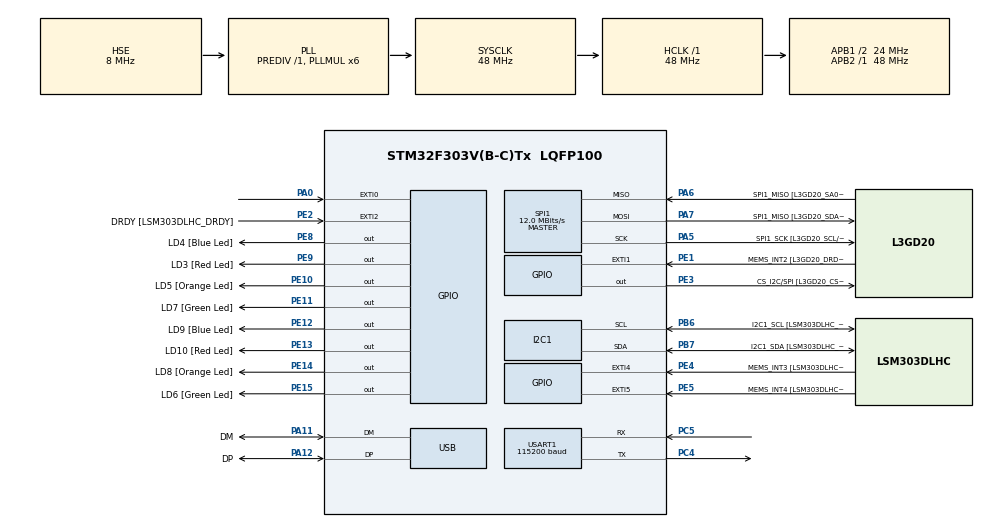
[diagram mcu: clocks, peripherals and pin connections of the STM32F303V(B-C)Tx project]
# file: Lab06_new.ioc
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I2C1.Timing=0x2000090E
I2C1.Timing-I2C=0x2000090E
Mcu.Family=STM32F3
Mcu.Name=STM32F303V(B-C)Tx
Mcu.Package=LQFP100
NVIC.EXTI0_IRQn=true\:0\:0\:false\:false\:true\:true\:true\:true
NVIC.PriorityGroup=NVIC_PRIORITYGROUP_0
NVIC.TIM2_IRQn=true\:0\:0\:false\:false\:true\:true\:true\:true
NVIC.USB_LP_CAN_RX0_IRQn=true\:0\:0\:false\:false\:true\:false\:true\:true
PA0.Signal=GPXTI0
PA11.GPIO_Label=DM
PA11.Mode=Device
PA11.Signal=USB_DM
PA12.GPIO_Label=DP
PA12.Mode=Device
PA12.Signal=USB_DP
PA13.GPIO_Label=SWDIO
PA13.Mode=Serial_Wire
PA13.Signal=SYS_JTMS-SWDIO
PA14.GPIO_Label=SWCLK
PA14.Mode=Serial_Wire
PA14.Signal=SYS_JTCK-SWCLK
PA5.GPIO_Label=SPI1_SCK [L3GD20_SCL/SPC]
PA5.Mode=Full_Duplex_Master
PA5.Signal=SPI1_SCK
PA6.GPIO_Label=SPI1_MISO [L3GD20_SA0/SDO]
PA6.Mode=Full_Duplex_Master
PA6.Signal=SPI1_MISO
PA7.GPIO_Label=SPI1_MISO [L3GD20_SDA/SDI/SDO]
PA7.Mode=Full_Duplex_Master
PA7.Signal=SPI1_MOSI
PB3.GPIO_Label=SWO
PB3.Signal=SYS_JTDO-TRACESWO
PB6.GPIO_Label=I2C1_SCL [LSM303DLHC_SCL]
PB6.GPIO_Pu=GPIO_PULLUP
PB6.Mode=I2C
PB6.Signal=I2C1_SCL
PB7.GPIO_Label=I2C1_SDA [LSM303DLHC_SDA]
PB7.GPIO_Pu=GPIO_PULLUP
PB7.Mode=I2C
PB7.Signal=I2C1_SDA
PC14-OSC32_IN.GPIO_Label=OSC32_IN
PC14-OSC32_IN.Signal=RCC_OSC32_IN
PC15-OSC32_OUT.GPIO_Label=OSC32_OUT
PC15-OSC32_OUT.Signal=RCC_OSC32_OUT
PC4.Mode=Asynchronous
PC4.Signal=USART1_TX
PC5.Mode=Asynchronous
PC5.Signal=USART1_RX
PE1.GPIO_Label=MEMS_INT2 [L3GD20_DRDY/INT2]
PE1.GPIO_ModeDefaultEXTI=GPIO_MODE_EVT_RISING
PE1.Signal=GPXTI1
PE10.GPIO_Label=LD5 [Orange Led]
PE10.Signal=GPIO_Output
PE11.GPIO_Label=LD7 [Green Led]
PE11.Signal=GPIO_Output
PE12.GPIO_Label=LD9 [Blue Led]
PE12.Signal=GPIO_Output
PE13.GPIO_Label=LD10 [Red Led]
PE13.Signal=GPIO_Output
PE14.GPIO_Label=LD8 [Orange Led]
PE14.Signal=GPIO_Output
PE15.GPIO_Label=LD6 [Green Led]
PE15.Signal=GPIO_Output
PE2.GPIO_Label=DRDY [LSM303DLHC_DRDY]
PE2.GPIO_ModeDefaultEXTI=GPIO_MODE_EVT_RISING
PE2.Signal=GPXTI2
PE3.GPIO_Label=CS_I2C/SPI [L3GD20_CS_I2C/SPI]
PE3.Signal=GPIO_Output
PE4.GPIO_Label=MEMS_INT3 [LSM303DLHC_INT1]
PE4.GPIO_ModeDefaultEXTI=GPIO_MODE_EVT_RISING
PE4.Signal=GPXTI4
PE5.GPIO_Label=MEMS_INT4 [LSM303DLHC_INT2]
PE5.GPIO_ModeDefaultEXTI=GPIO_MODE_EVT_RISING
PE5.Signal=GPXTI5
PE8.GPIO_Label=LD4 [Blue Led]
PE8.Signal=GPIO_Output
PE9.GPIO_Label=LD3 [Red Led]
PE9.Signal=GPIO_Output
PF0-OSC_IN.GPIO_Label=OSC_IN
PF0-OSC_IN.Mode=HSE-External-Clock-Source
PF0-OSC_IN.Signal=RCC_OSC_IN
PF1-OSC_OUT.GPIO_Label=OSC_OUT
PF1-OSC_OUT.Signal=RCC_OSC_OUT
ProjectManager.HeapSize=0x200
ProjectManager.StackSize=0x400
ProjectManager.TargetToolchain=CMake
RCC.AHBFreq_Value=48000000
RCC.APB1CLKDivider=RCC_HCLK_DIV2
RCC.APB1Freq_Value=24000000
RCC.APB1TimFreq_Value=48000000
RCC.APB2Freq_Value=48000000
RCC.APB2TimFreq_Value=48000000
RCC.CortexFreq_Value=48000000
RCC.HCLKFreq_Value=48000000
RCC.HSE_VALUE=8000000
RCC.HSI_VALUE=8000000
RCC.LSE_VALUE=32768
RCC.PLLMUL=RCC_PLL_MUL6
RCC.SYSCLKFreq_VALUE=48000000
RCC.SYSCLKSourceVirtual=RCC_SYSCLKSOURCE_PLLCLK
RCC.USBFreq_Value=48000000
SPI1.BaudRatePrescaler=SPI_BAUDRATEPRESCALER_4
SPI1.BaudRatePrescaler-Full_Duplex_Master=SPI_BAUDRATEPRESCALER_2
SPI1.CalculateBaudRate=12.0 MBits/s
SPI1.CalculateBaudRate-Full_Duplex_Master=24.0 MBits/s
SPI1.Direction=SPI_DIRECTION_2LINES
SPI1.Mode=SPI_MODE_MASTER
SPI1.Mode-Full_Duplex_Master=SPI_MODE_MASTER
SPI1.VirtualType=VM_MASTER
TIM2.Prescaler=9
USART1.BaudRate=115200
USART1.VirtualMode-Asynchronous=VM_ASYNC
USB_DEVICE.CLASS_NAME_FS=CDC
USB_DEVICE.VirtualMode=Cdc
USB_DEVICE.VirtualModeFS=Cdc_FS
VP_TIM2_VS_ClockSourceINT.Mode=Internal
VP_USB_DEVICE_VS_USB_DEVICE_CDC_FS.Mode=CDC_FS
board=STM32F3DISCOVERY

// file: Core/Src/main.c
/* USER CODE BEGIN Header */
/**
  ******************************************************************************
  * @file           : main.c
  * @brief          : Main program body
  ******************************************************************************
  * @attention
  *
  * Copyright (c) 2026 STMicroelectronics.
  * All rights reserved.
  *
  * This software is licensed under terms that can be found in the LICENSE file
  * in the root directory of this software component.
  * If no LICENSE file comes with this software, it is provided AS-IS.
  *
  ******************************************************************************
  */
/* USER CODE END Header */
#include "main.h"
#include "usb_device.h"
#include "stm32f3xx_hal_uart.h"
#include "stdarg.h"
#include "stdio.h"
#include "stm32f3xx_hal.h"
#include "string.h"
#include "math.h"

I2C_HandleTypeDef hi2c1;

SPI_HandleTypeDef hspi1;

TIM_HandleTypeDef htim2;

UART_HandleTypeDef huart1;

void SystemClock_Config(void);
static void MX_GPIO_Init(void);
static void MX_I2C1_Init(void);
static void MX_SPI1_Init(void);
static void MX_TIM2_Init(void);
static void MX_USART1_UART_Init(void);

/* USER CODE BEGIN 0 */
int interruptFlag = 0;
int count[10];
int i = 0;
void HAL_GPIO_EXTI_Callback(uint16_t GPIO_Pin);
void myPrintf(const char *fmt, ...);
/* USER CODE END 0 */

int main(void)
{

  /* MCU Configuration--------------------------------------------------------*/

  /* Reset of all peripherals, Initializes the Flash interface and the Systick. */
  HAL_Init();

  /* Configure the system clock */
  SystemClock_Config();

  /* Initialize all configured peripherals */
  MX_GPIO_Init();
  MX_I2C1_Init();
  MX_SPI1_Init();
  MX_TIM2_Init();
  MX_USART1_UART_Init();
  MX_USB_DEVICE_Init();

  /* Infinite loop */
  while (1)
  {
    int sum = 0;
    //myPrintf("hello");
    // HAL_UART_Transmit(&huart1, (uint8_t*)"Hello", 10, HAL_MAX_DELAY);

    if (i == 10) {
      for (int j = 0; j < 10; j++) {
        sum = sum + count[j];
      }
      sum = sum / 10;
      int freq = 4800000 / sum;
      myPrintf("Frequency: %d Hz\r\n", freq);
      i = 0;
    }
    HAL_Delay(100);
  }
}

void SystemClock_Config(void)
{
  RCC_OscInitTypeDef RCC_OscInitStruct = {0};
  RCC_ClkInitTypeDef RCC_ClkInitStruct = {0};
  RCC_PeriphCLKInitTypeDef PeriphClkInit = {0};

  /** Initializes the RCC Oscillators according to the specified parameters
  * in the RCC_OscInitTypeDef structure.
  */
  RCC_OscInitStruct.OscillatorType = RCC_OSCILLATORTYPE_HSI|RCC_OSCILLATORTYPE_HSE;
  RCC_OscInitStruct.HSEState = RCC_HSE_BYPASS;
  RCC_OscInitStruct.HSEPredivValue = RCC_HSE_PREDIV_DIV1;
  RCC_OscInitStruct.HSIState = RCC_HSI_ON;
  RCC_OscInitStruct.HSICalibrationValue = RCC_HSICALIBRATION_DEFAULT;
  RCC_OscInitStruct.PLL.PLLState = RCC_PLL_ON;
  RCC_OscInitStruct.PLL.PLLSource = RCC_PLLSOURCE_HSE;
  RCC_OscInitStruct.PLL.PLLMUL = RCC_PLL_MUL6;
  if (HAL_RCC_OscConfig(&RCC_OscInitStruct) != HAL_OK)
  {
    Error_Handler();
  }

  /** Initializes the CPU, AHB and APB buses clocks
  */
  RCC_ClkInitStruct.ClockType = RCC_CLOCKTYPE_HCLK|RCC_CLOCKTYPE_SYSCLK
                              |RCC_CLOCKTYPE_PCLK1|RCC_CLOCKTYPE_PCLK2;
  RCC_ClkInitStruct.SYSCLKSource = RCC_SYSCLKSOURCE_PLLCLK;
  RCC_ClkInitStruct.AHBCLKDivider = RCC_SYSCLK_DIV1;
  RCC_ClkInitStruct.APB1CLKDivider = RCC_HCLK_DIV2;
  RCC_ClkInitStruct.APB2CLKDivider = RCC_HCLK_DIV1;

  if (HAL_RCC_ClockConfig(&RCC_ClkInitStruct, FLASH_LATENCY_1) != HAL_OK)
  {
    Error_Handler();
  }
  PeriphClkInit.PeriphClockSelection = RCC_PERIPHCLK_USB|RCC_PERIPHCLK_USART1
                              |RCC_PERIPHCLK_I2C1;
  PeriphClkInit.Usart1ClockSelection = RCC_USART1CLKSOURCE_PCLK2;
  PeriphClkInit.I2c1ClockSelection = RCC_I2C1CLKSOURCE_HSI;
  PeriphClkInit.USBClockSelection = RCC_USBCLKSOURCE_PLL;
  if (HAL_RCCEx_PeriphCLKConfig(&PeriphClkInit) != HAL_OK)
  {
    Error_Handler();
  }
}

static void MX_I2C1_Init(void)
{

  hi2c1.Instance = I2C1;
  hi2c1.Init.Timing = 0x2000090E;
  hi2c1.Init.OwnAddress1 = 0;
  hi2c1.Init.AddressingMode = I2C_ADDRESSINGMODE_7BIT;
  hi2c1.Init.DualAddressMode = I2C_DUALADDRESS_DISABLE;
  hi2c1.Init.OwnAddress2 = 0;
  hi2c1.Init.OwnAddress2Masks = I2C_OA2_NOMASK;
  hi2c1.Init.GeneralCallMode = I2C_GENERALCALL_DISABLE;
  hi2c1.Init.NoStretchMode = I2C_NOSTRETCH_DISABLE;
  if (HAL_I2C_Init(&hi2c1) != HAL_OK)
  {
    Error_Handler();
  }

  /** Configure Analogue filter
  */
  if (HAL_I2CEx_ConfigAnalogFilter(&hi2c1, I2C_ANALOGFILTER_ENABLE) != HAL_OK)
  {
    Error_Handler();
  }

  /** Configure Digital filter
  */
  if (HAL_I2CEx_ConfigDigitalFilter(&hi2c1, 0) != HAL_OK)
  {
    Error_Handler();
  }

}

static void MX_SPI1_Init(void)
{

  /* SPI1 parameter configuration*/
  hspi1.Instance = SPI1;
  hspi1.Init.Mode = SPI_MODE_MASTER;
  hspi1.Init.Direction = SPI_DIRECTION_2LINES;
  hspi1.Init.DataSize = SPI_DATASIZE_4BIT;
  hspi1.Init.CLKPolarity = SPI_POLARITY_LOW;
  hspi1.Init.CLKPhase = SPI_PHASE_1EDGE;
  hspi1.Init.NSS = SPI_NSS_SOFT;
  hspi1.Init.BaudRatePrescaler = SPI_BAUDRATEPRESCALER_4;
  hspi1.Init.FirstBit = SPI_FIRSTBIT_MSB;
  hspi1.Init.TIMode = SPI_TIMODE_DISABLE;
  hspi1.Init.CRCCalculation = SPI_CRCCALCULATION_DISABLE;
  hspi1.Init.CRCPolynomial = 7;
  hspi1.Init.CRCLength = SPI_CRC_LENGTH_DATASIZE;
  hspi1.Init.NSSPMode = SPI_NSS_PULSE_ENABLE;
  if (HAL_SPI_Init(&hspi1) != HAL_OK)
  {
    Error_Handler();
  }

}

static void MX_TIM2_Init(void)
{

  TIM_ClockConfigTypeDef sClockSourceConfig = {0};
  TIM_MasterConfigTypeDef sMasterConfig = {0};

  htim2.Instance = TIM2;
  htim2.Init.Prescaler = 9;
  htim2.Init.CounterMode = TIM_COUNTERMODE_UP;
  htim2.Init.Period = 4294967295;
  htim2.Init.ClockDivision = TIM_CLOCKDIVISION_DIV1;
  htim2.Init.AutoReloadPreload = TIM_AUTORELOAD_PRELOAD_DISABLE;
  if (HAL_TIM_Base_Init(&htim2) != HAL_OK)
  {
    Error_Handler();
  }
  sClockSourceConfig.ClockSource = TIM_CLOCKSOURCE_INTERNAL;
  if (HAL_TIM_ConfigClockSource(&htim2, &sClockSourceConfig) != HAL_OK)
  {
    Error_Handler();
  }
  sMasterConfig.MasterOutputTrigger = TIM_TRGO_RESET;
  sMasterConfig.MasterSlaveMode = TIM_MASTERSLAVEMODE_DISABLE;
  if (HAL_TIMEx_MasterConfigSynchronization(&htim2, &sMasterConfig) != HAL_OK)
  {
    Error_Handler();
  }

}

static void MX_USART1_UART_Init(void)
{

  huart1.Instance = USART1;
  huart1.Init.BaudRate = 115200;
  huart1.Init.WordLength = UART_WORDLENGTH_8B;
  huart1.Init.StopBits = UART_STOPBITS_1;
  huart1.Init.Parity = UART_PARITY_NONE;
  huart1.Init.Mode = UART_MODE_TX_RX;
  huart1.Init.HwFlowCtl = UART_HWCONTROL_NONE;
  huart1.Init.OverSampling = UART_OVERSAMPLING_16;
  huart1.Init.OneBitSampling = UART_ONE_BIT_SAMPLE_DISABLE;
  huart1.AdvancedInit.AdvFeatureInit = UART_ADVFEATURE_NO_INIT;
  if (HAL_UART_Init(&huart1) != HAL_OK)
  {
    Error_Handler();
  }

}

static void MX_GPIO_Init(void)
{
  GPIO_InitTypeDef GPIO_InitStruct = {0};

  /* GPIO Ports Clock Enable */
  __HAL_RCC_GPIOE_CLK_ENABLE();
  __HAL_RCC_GPIOC_CLK_ENABLE();
  __HAL_RCC_GPIOF_CLK_ENABLE();
  __HAL_RCC_GPIOA_CLK_ENABLE();
  __HAL_RCC_GPIOB_CLK_ENABLE();

  /*Configure GPIO pin Output Level */
  HAL_GPIO_WritePin(GPIOE, CS_I2C_SPI_Pin|LD4_Pin|LD3_Pin|LD5_Pin
                          |LD7_Pin|LD9_Pin|LD10_Pin|LD8_Pin
                          |LD6_Pin, GPIO_PIN_RESET);

  /*Configure GPIO pins : DRDY_Pin MEMS_INT3_Pin MEMS_INT4_Pin MEMS_INT2_Pin */
  GPIO_InitStruct.Pin = DRDY_Pin|MEMS_INT3_Pin|MEMS_INT4_Pin|MEMS_INT2_Pin;
  GPIO_InitStruct.Mode = GPIO_MODE_EVT_RISING;
  GPIO_InitStruct.Pull = GPIO_NOPULL;
  HAL_GPIO_Init(GPIOE, &GPIO_InitStruct);

  /*Configure GPIO pins : CS_I2C_SPI_Pin LD4_Pin LD3_Pin LD5_Pin
                           LD7_Pin LD9_Pin LD10_Pin LD8_Pin
                           LD6_Pin */
  GPIO_InitStruct.Pin = CS_I2C_SPI_Pin|LD4_Pin|LD3_Pin|LD5_Pin
                          |LD7_Pin|LD9_Pin|LD10_Pin|LD8_Pin
                          |LD6_Pin;
  GPIO_InitStruct.Mode = GPIO_MODE_OUTPUT_PP;
  GPIO_InitStruct.Pull = GPIO_NOPULL;
  GPIO_InitStruct.Speed = GPIO_SPEED_FREQ_LOW;
  HAL_GPIO_Init(GPIOE, &GPIO_InitStruct);

  /*Configure GPIO pin : PA0 */
  GPIO_InitStruct.Pin = GPIO_PIN_0;
  GPIO_InitStruct.Mode = GPIO_MODE_IT_RISING;
  GPIO_InitStruct.Pull = GPIO_NOPULL;
  HAL_GPIO_Init(GPIOA, &GPIO_InitStruct);

  /* EXTI interrupt init*/
  HAL_NVIC_SetPriority(EXTI0_IRQn, 0, 0);
  HAL_NVIC_EnableIRQ(EXTI0_IRQn);

}

/* USER CODE BEGIN 4 */

 void HAL_GPIO_EXTI_Callback(uint16_t GPIO_Pin){
  if (GPIO_Pin == GPIO_PIN_0)
  {
    if (interruptFlag == 0 && i <= 9)
    {
      interruptFlag = 1;
      __HAL_TIM_SET_COUNTER(&htim2, 0);
      HAL_TIM_Base_Start(&htim2);

    }
    else if (interruptFlag == 1 && i <= 9){
      interruptFlag = 0;
      HAL_TIM_Base_Stop(&htim2);
      count[i] = __HAL_TIM_GET_COUNTER(&htim2);
      i += 1;
    }
  }
}

void myPrintf(const char *fmt, ...)
{
    char buffer[30];
    va_list argument;
    va_start(argument, fmt);
    vsnprintf(buffer, sizeof(buffer), fmt, argument);
    HAL_UART_Transmit(&huart1, (uint8_t*)buffer, strlen(buffer), 100);
}
/* USER CODE END 4 */

void Error_Handler(void)
{
  __disable_irq();
  while (1)
  {
  }
}
